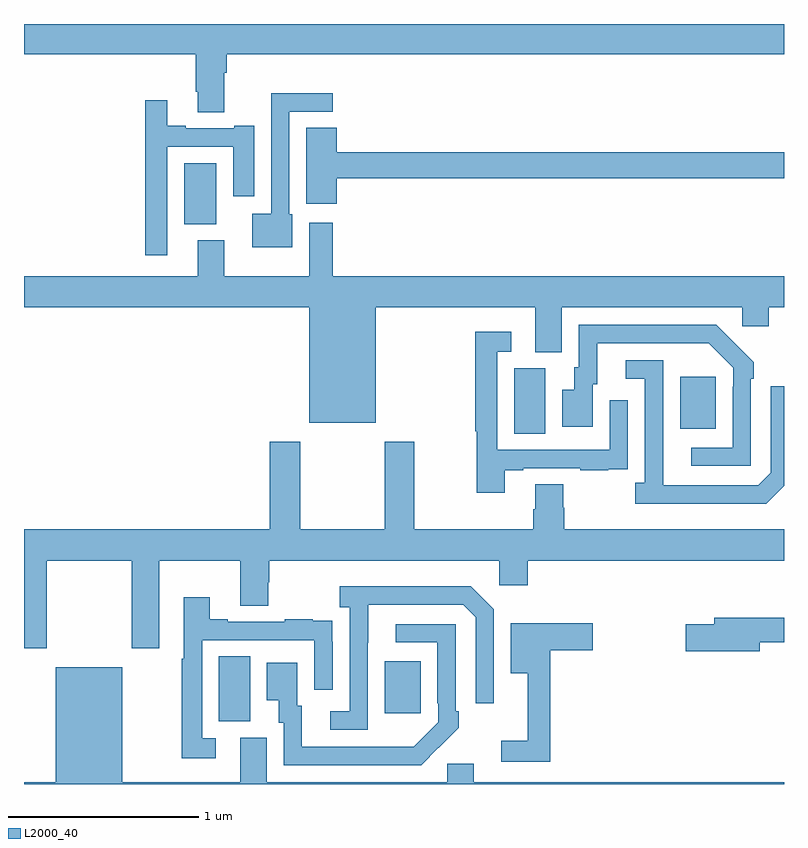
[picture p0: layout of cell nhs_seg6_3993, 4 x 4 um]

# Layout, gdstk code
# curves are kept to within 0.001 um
import gdstk
lib = gdstk.Library(unit=1e-6, precision=1e-09)
def R(c, l, rs):  # rectangles x0, y0, x1, y1
    for r in rs: c.add(gdstk.rectangle(r[:2], r[2:], *l))
def P(c, l, *ps):  # polygons
    for p in ps: c.add(gdstk.Polygon(p, *l))
L2000_40 = (2000, 40)

nhs_seg6_3993 = lib.new_cell('nhs_seg6_3993')
R(nhs_seg6_3993, L2000_40, [(348.026,939.829,348.19,940.172), (348.899,939.873,349.087,940.147), (349.58,941.344,349.744,941.688), (350.453,941.369,350.641,941.644), (347.843,942.446,348.013,942.766)])
P(nhs_seg6_3993, L2000_40, [(348.055,943.244),(348.068,943.244),(348.068,943.34),(351,943.34),(351,943.5),(347,943.5),(347,943.34),(347.903,943.34),(347.903,943.144),(347.915,943.144),(347.915,943.036),(348.055,943.036)],
  [(348.412,942.498),(348.396,942.498),(348.396,943.038),(348.625,943.038),(348.625,943.136),(348.3,943.136),(348.3,942.502),(348.2,942.502),(348.2,942.326),(348.412,942.326)],
  [(347.754,942.855),(348.101,942.855),(348.101,942.594),(348.211,942.594),(348.211,942.964),(348.107,942.964),(348.107,942.951),(347.851,942.951),(347.851,942.964),(347.755,942.964),(347.755,943.099),(347.638,943.099),(347.638,942.282),(347.754,942.282)],
  [(348.647,942.688),(351,942.688),(351,942.824),(348.647,942.824),(348.647,942.953),(348.485,942.953),(348.485,942.555),(348.647,942.555)],
  [(348.85,942.008),(349.691,942.008),(349.691,941.773),(349.831,941.773),(349.831,942.008),(350.781,942.008),(350.781,941.91),(350.92,941.91),(350.92,942.008),(351,942.008),(351,942.172),(348.626,942.172),(348.626,942.454),(348.5,942.454),(348.5,942.172),(348.055,942.172),(348.055,942.361),(347.915,942.361),(347.915,942.172),(347,942.172),(347,942.008),(348.5,942.008),(348.5,941.402),(348.85,941.402)],
  [(350.826,941.633),(350.841,941.633),(350.841,941.721),(350.644,941.916),(349.92,941.916),(349.92,941.694),(349.895,941.694),(349.895,941.575),(349.832,941.575),(349.832,941.379),(349.993,941.379),(349.993,941.604),(350.017,941.604),(350.017,941.82),(350.605,941.82),(350.733,941.691),(350.733,941.591),(350.73,941.591),(350.73,941.271),(350.511,941.271),(350.511,941.175),(350.826,941.175)],
  [(349.531,941.151),(349.627,941.151),(349.627,941.163),(349.927,941.163),(349.927,941.151),(350.075,941.151),(350.075,941.157),(350.177,941.157),(350.177,941.266),(350.178,941.266),(350.178,941.521),(350.082,941.521),(350.082,941.259),(349.491,941.259),(349.491,941.775),(349.564,941.775),(349.564,941.881),(349.375,941.881),(349.375,941.356),(349.383,941.356),(349.383,941.034),(349.531,941.034)],
  [(351,941.07),(351,941.593),(350.931,941.593),(350.931,941.139),(350.865,941.073),(350.365,941.073),(350.364,941.73),(350.166,941.73),(350.166,941.634),(350.268,941.634),(350.268,941.086),(350.217,941.086),(350.217,940.976),(350.906,940.976)],
  [(347.121,940.676),(347.566,940.676),(347.566,940.215),(347.713,940.215),(347.713,940.676),(348.137,940.676),(348.137,940.438),(348.285,940.438),(348.285,940.563),(348.29,940.563),(348.29,940.676),(349.5,940.676),(349.5,940.545),(349.652,940.545),(349.652,940.676),(351,940.676),(351,940.84),(349.844,940.84),(349.844,940.953),(349.839,940.953),(349.839,941.078),(349.691,941.078),(349.691,940.946),(349.679,940.946),(349.679,940.84),(349.053,940.84),(349.053,941.302),(348.898,941.302),(348.898,940.84),(348.453,940.84),(348.453,941.302),(348.293,941.302),(348.293,940.84),(347,940.84),(347,940.215),(347.121,940.215)],
  [(348.81,940.243),(348.811,940.443),(349.311,940.443),(349.377,940.377),(349.377,939.924),(349.473,939.924),(349.473,940.419),(349.352,940.54),(348.663,940.54),(348.663,940.43),(348.714,940.43),(348.714,939.882),(348.612,939.882),(348.612,939.786),(348.81,939.786)],
  [(348.01,939.741),(347.937,939.741),(347.937,940.257),(348.528,940.257),(348.528,939.996),(348.624,939.996),(348.624,940.25),(348.623,940.25),(348.623,940.359),(348.521,940.359),(348.521,940.366),(348.373,940.366),(348.373,940.353),(348.073,940.353),(348.073,940.366),(347.977,940.366),(347.977,940.483),(347.841,940.483),(347.841,940.16),(347.829,940.16),(347.829,939.636),(348.01,939.636)],
  [(350.872,940.246),(351,940.246),(351,940.375),(350.633,940.375),(350.633,940.341),(350.484,940.341),(350.484,940.199),(350.872,940.199)],
  [(349.769,940.205),(349.993,940.205),(349.993,940.347),(349.562,940.347),(349.562,940.082),(349.652,940.082),(349.652,939.727),(349.512,939.727),(349.512,939.618),(349.769,939.618)],
  [(349.181,939.691),(349.182,939.69),(349.287,939.795),(349.287,939.883),(349.272,939.883),(349.272,940.341),(348.957,940.341),(348.957,940.245),(349.176,940.245),(349.176,939.925),(349.179,939.925),(349.179,939.825),(349.051,939.697),(348.463,939.696),(348.463,939.912),(348.439,939.912),(348.439,940.138),(348.278,940.138),(348.278,939.941),(348.341,939.941),(348.341,939.822),(348.366,939.822),(348.366,939.6),(349.09,939.6)],
  [(351,939.508),(349.366,939.508),(349.366,939.606),(349.227,939.606),(349.227,939.508),(348.277,939.508),(348.277,939.744),(348.137,939.744),(348.137,939.508),(347.518,939.508),(347.518,940.114),(347.168,940.114),(347.168,939.508),(347,939.508),(347,939.5),(351,939.5)])

lib.write_gds('nhs_seg6_3993.gds')
